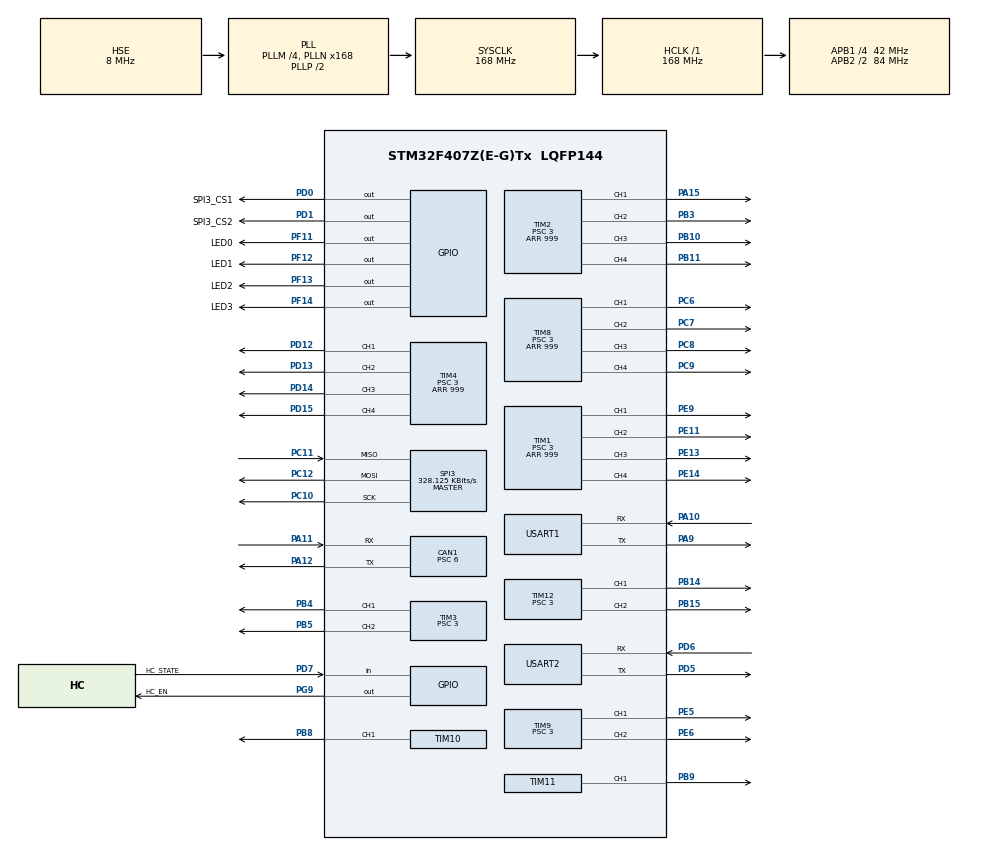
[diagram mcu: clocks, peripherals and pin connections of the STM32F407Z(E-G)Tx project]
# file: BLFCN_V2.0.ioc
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CAN1.BS1=CAN_BS1_5TQ
CAN1.CalculateBaudRate=1000000
CAN1.CalculateTimeBit=1000
CAN1.CalculateTimeQuantum=142.85714285714286
CAN1.Prescaler=6
Dma.Request0=USART1_RX
Dma.Request1=USART1_TX
Dma.Request2=USART2_RX
Dma.Request3=USART2_TX
Dma.USART1_RX.0.Direction=DMA_PERIPH_TO_MEMORY
Dma.USART1_RX.0.FIFOMode=DMA_FIFOMODE_DISABLE
Dma.USART1_RX.0.Instance=DMA2_Stream2
Dma.USART1_RX.0.MemDataAlignment=DMA_MDATAALIGN_BYTE
Dma.USART1_RX.0.MemInc=DMA_MINC_ENABLE
Dma.USART1_RX.0.Mode=DMA_NORMAL
Dma.USART1_RX.0.PeriphDataAlignment=DMA_PDATAALIGN_BYTE
Dma.USART1_RX.0.PeriphInc=DMA_PINC_DISABLE
Dma.USART1_RX.0.Priority=DMA_PRIORITY_LOW
Dma.USART1_TX.1.Direction=DMA_MEMORY_TO_PERIPH
Dma.USART1_TX.1.FIFOMode=DMA_FIFOMODE_DISABLE
Dma.USART1_TX.1.Instance=DMA2_Stream7
Dma.USART1_TX.1.MemDataAlignment=DMA_MDATAALIGN_BYTE
Dma.USART1_TX.1.MemInc=DMA_MINC_ENABLE
Dma.USART1_TX.1.Mode=DMA_NORMAL
Dma.USART1_TX.1.PeriphDataAlignment=DMA_PDATAALIGN_BYTE
Dma.USART1_TX.1.PeriphInc=DMA_PINC_DISABLE
Dma.USART1_TX.1.Priority=DMA_PRIORITY_LOW
Dma.USART2_RX.2.Direction=DMA_PERIPH_TO_MEMORY
Dma.USART2_RX.2.FIFOMode=DMA_FIFOMODE_DISABLE
Dma.USART2_RX.2.Instance=DMA1_Stream5
Dma.USART2_RX.2.MemDataAlignment=DMA_MDATAALIGN_BYTE
Dma.USART2_RX.2.MemInc=DMA_MINC_ENABLE
Dma.USART2_RX.2.Mode=DMA_CIRCULAR
Dma.USART2_RX.2.PeriphDataAlignment=DMA_PDATAALIGN_BYTE
Dma.USART2_RX.2.PeriphInc=DMA_PINC_DISABLE
Dma.USART2_RX.2.Priority=DMA_PRIORITY_LOW
Dma.USART2_TX.3.Direction=DMA_MEMORY_TO_PERIPH
Dma.USART2_TX.3.FIFOMode=DMA_FIFOMODE_DISABLE
Dma.USART2_TX.3.Instance=DMA1_Stream6
Dma.USART2_TX.3.MemDataAlignment=DMA_MDATAALIGN_BYTE
Dma.USART2_TX.3.MemInc=DMA_MINC_ENABLE
Dma.USART2_TX.3.Mode=DMA_CIRCULAR
Dma.USART2_TX.3.PeriphDataAlignment=DMA_PDATAALIGN_BYTE
Dma.USART2_TX.3.PeriphInc=DMA_PINC_DISABLE
Dma.USART2_TX.3.Priority=DMA_PRIORITY_LOW
FREERTOS.Tasks01=defaultTask,24,128,StartDefaultTask,Default,NULL,Dynamic,NULL,NULL;PID,8,128,StartTask_pid,Default,NULL,Dynamic,NULL,NULL;read,8,128,StartTask_read,Default,NULL,Dynamic,NULL,NULL;send,8,128,StartTask_send,Default,NULL,Dynamic,NULL,NULL
Mcu.Family=STM32F4
Mcu.Name=STM32F407Z(E-G)Tx
Mcu.Package=LQFP144
NVIC.CAN1_RX0_IRQn=true\:5\:0\:false\:false\:true\:true\:true\:true\:true
NVIC.CAN1_RX1_IRQn=true\:5\:0\:false\:false\:true\:true\:true\:true\:true
NVIC.CAN1_TX_IRQn=true\:5\:0\:false\:false\:true\:true\:true\:true\:true
NVIC.DMA1_Stream5_IRQn=true\:5\:0\:false\:false\:true\:true\:false\:true\:true
NVIC.DMA1_Stream6_IRQn=true\:5\:0\:false\:false\:true\:true\:false\:true\:true
NVIC.DMA2_Stream2_IRQn=true\:5\:0\:false\:false\:true\:true\:false\:true\:true
NVIC.DMA2_Stream7_IRQn=true\:5\:0\:false\:false\:true\:true\:false\:true\:true
NVIC.PriorityGroup=NVIC_PRIORITYGROUP_4
NVIC.TIM7_IRQn=true\:15\:0\:false\:false\:true\:false\:false\:true\:true
NVIC.TimeBase=TIM7_IRQn
NVIC.TimeBaseIP=TIM7
NVIC.USART1_IRQn=true\:5\:0\:true\:false\:true\:true\:true\:true\:true
NVIC.USART2_IRQn=true\:5\:0\:true\:false\:true\:true\:true\:true\:true
PA10.Mode=Asynchronous
PA10.Signal=USART1_RX
PA11.Mode=CAN_Activate
PA11.Signal=CAN1_RX
PA12.Mode=CAN_Activate
PA12.Signal=CAN1_TX
PA13.Mode=Serial_Wire
PA13.Signal=SYS_JTMS-SWDIO
PA14.Mode=Serial_Wire
PA14.Signal=SYS_JTCK-SWCLK
PA15.Signal=S_TIM2_CH1_ETR
PA9.Mode=Asynchronous
PA9.Signal=USART1_TX
PB10.Signal=S_TIM2_CH3
PB11.Signal=S_TIM2_CH4
PB14.Signal=S_TIM12_CH1
PB15.Signal=S_TIM12_CH2
PB3.Signal=S_TIM2_CH2
PB4.Signal=S_TIM3_CH1
PB5.Signal=S_TIM3_CH2
PB8.Signal=S_TIM10_CH1
PB9.Signal=S_TIM11_CH1
PC10.Mode=Full_Duplex_Master
PC10.Signal=SPI3_SCK
PC11.Mode=Full_Duplex_Master
PC11.Signal=SPI3_MISO
PC12.Mode=Full_Duplex_Master
PC12.Signal=SPI3_MOSI
PC6.Signal=S_TIM8_CH1
PC7.Signal=S_TIM8_CH2
PC8.Signal=S_TIM8_CH3
PC9.Signal=S_TIM8_CH4
PD0.GPIO_Label=SPI3_CS1
PD0.Signal=GPIO_Output
PD1.GPIO_Label=SPI3_CS2
PD1.Signal=GPIO_Output
PD12.Signal=S_TIM4_CH1
PD13.Signal=S_TIM4_CH2
PD14.Signal=S_TIM4_CH3
PD15.Signal=S_TIM4_CH4
PD5.Mode=Asynchronous
PD5.Signal=USART2_TX
PD6.Mode=Asynchronous
PD6.Signal=USART2_RX
PD7.GPIO_Label=HC_STATE
PD7.Signal=GPIO_Input
PE11.Signal=S_TIM1_CH2
PE13.Signal=S_TIM1_CH3
PE14.Signal=S_TIM1_CH4
PE5.Signal=S_TIM9_CH1
PE6.Signal=S_TIM9_CH2
PE9.Signal=S_TIM1_CH1
PF11.GPIO_Label=LED0
PF11.Signal=GPIO_Output
PF12.GPIO_Label=LED1
PF12.Signal=GPIO_Output
PF13.GPIO_Label=LED2
PF13.Signal=GPIO_Output
PF14.GPIO_Label=LED3
PF14.Signal=GPIO_Output
PG9.GPIO_Label=HC_EN
PG9.Signal=GPIO_Output
PH0-OSC_IN.Mode=HSE-External-Oscillator
PH0-OSC_IN.Signal=RCC_OSC_IN
PH1-OSC_OUT.Mode=HSE-External-Oscillator
PH1-OSC_OUT.Signal=RCC_OSC_OUT
ProjectManager.HeapSize=0x400
ProjectManager.StackSize=0x1000
ProjectManager.TargetToolchain=MDK-ARM V5
RCC.48MHZClocksFreq_Value=84000000
RCC.AHBFreq_Value=168000000
RCC.APB1CLKDivider=RCC_HCLK_DIV4
RCC.APB1Freq_Value=42000000
RCC.APB1TimFreq_Value=84000000
RCC.APB2CLKDivider=RCC_HCLK_DIV2
RCC.APB2Freq_Value=84000000
RCC.APB2TimFreq_Value=168000000
RCC.CortexFreq_Value=168000000
RCC.HCLKFreq_Value=168000000
RCC.HSE_VALUE=8000000
RCC.HSI_VALUE=16000000
RCC.LSE_VALUE=32768
RCC.PLLM=4
RCC.PLLN=168
RCC.PLLSourceVirtual=RCC_PLLSOURCE_HSE
RCC.SYSCLKFreq_VALUE=168000000
RCC.SYSCLKSource=RCC_SYSCLKSOURCE_PLLCLK
RCC.VCOOutputFreq_Value=336000000
SH.S_TIM10_CH1.0=TIM10_CH1,PWM Generation1 CH1
SH.S_TIM11_CH1.0=TIM11_CH1,PWM Generation1 CH1
SH.S_TIM12_CH1.0=TIM12_CH1,PWM Generation1 CH1
SH.S_TIM12_CH2.0=TIM12_CH2,PWM Generation2 CH2
SH.S_TIM1_CH1.0=TIM1_CH1,PWM Generation1 CH1
SH.S_TIM1_CH2.0=TIM1_CH2,PWM Generation2 CH2
SH.S_TIM1_CH3.0=TIM1_CH3,PWM Generation3 CH3
SH.S_TIM1_CH4.0=TIM1_CH4,PWM Generation4 CH4
SH.S_TIM2_CH1_ETR.0=TIM2_CH1,PWM Generation1 CH1
SH.S_TIM2_CH2.0=TIM2_CH2,PWM Generation2 CH2
SH.S_TIM2_CH3.0=TIM2_CH3,PWM Generation3 CH3
SH.S_TIM2_CH4.0=TIM2_CH4,PWM Generation4 CH4
SH.S_TIM3_CH1.0=TIM3_CH1,PWM Generation1 CH1
SH.S_TIM3_CH2.0=TIM3_CH2,PWM Generation2 CH2
SH.S_TIM4_CH1.0=TIM4_CH1,PWM Generation1 CH1
SH.S_TIM4_CH2.0=TIM4_CH2,PWM Generation2 CH2
SH.S_TIM4_CH3.0=TIM4_CH3,PWM Generation3 CH3
SH.S_TIM4_CH4.0=TIM4_CH4,PWM Generation4 CH4
SH.S_TIM8_CH1.0=TIM8_CH1,PWM Generation1 CH1
SH.S_TIM8_CH2.0=TIM8_CH2,PWM Generation2 CH2
SH.S_TIM8_CH3.0=TIM8_CH3,PWM Generation3 CH3
SH.S_TIM8_CH4.0=TIM8_CH4,PWM Generation4 CH4
SH.S_TIM9_CH1.0=TIM9_CH1,PWM Generation1 CH1
SH.S_TIM9_CH2.0=TIM9_CH2,PWM Generation2 CH2
SPI3.BaudRatePrescaler=SPI_BAUDRATEPRESCALER_128
SPI3.CLKPhase=SPI_PHASE_2EDGE
SPI3.CalculateBaudRate=328.125 KBits/s
SPI3.DataSize=SPI_DATASIZE_16BIT
SPI3.Direction=SPI_DIRECTION_2LINES
SPI3.Mode=SPI_MODE_MASTER
SPI3.VirtualType=VM_MASTER
TIM1.Channel-PWM\ Generation1\ CH1=TIM_CHANNEL_1
TIM1.Channel-PWM\ Generation2\ CH2=TIM_CHANNEL_2
TIM1.Channel-PWM\ Generation3\ CH3=TIM_CHANNEL_3
TIM1.Channel-PWM\ Generation4\ CH4=TIM_CHANNEL_4
TIM1.Period=999
TIM1.Prescaler=3
TIM10.Channel=TIM_CHANNEL_1
TIM10.Period=999
TIM10.Prescaler=3
TIM11.Channel=TIM_CHANNEL_1
TIM11.Period=999
TIM11.Prescaler=3
TIM12.Channel-PWM\ Generation1\ CH1=TIM_CHANNEL_1
TIM12.Channel-PWM\ Generation2\ CH2=TIM_CHANNEL_2
TIM12.Period=999
TIM12.Prescaler=3
TIM2.Channel-PWM\ Generation1\ CH1=TIM_CHANNEL_1
TIM2.Channel-PWM\ Generation2\ CH2=TIM_CHANNEL_2
TIM2.Channel-PWM\ Generation3\ CH3=TIM_CHANNEL_3
TIM2.Channel-PWM\ Generation4\ CH4=TIM_CHANNEL_4
TIM2.Period=999
TIM2.Prescaler=3
TIM3.Channel-PWM\ Generation1\ CH1=TIM_CHANNEL_1
TIM3.Channel-PWM\ Generation2\ CH2=TIM_CHANNEL_2
TIM3.Period=999
TIM3.Prescaler=3
TIM4.Channel-PWM\ Generation1\ CH1=TIM_CHANNEL_1
TIM4.Channel-PWM\ Generation2\ CH2=TIM_CHANNEL_2
TIM4.Channel-PWM\ Generation3\ CH3=TIM_CHANNEL_3
TIM4.Channel-PWM\ Generation4\ CH4=TIM_CHANNEL_4
TIM4.Period=999
TIM4.Prescaler=3
TIM8.Channel-PWM\ Generation1\ CH1=TIM_CHANNEL_1
TIM8.Channel-PWM\ Generation2\ CH2=TIM_CHANNEL_2
TIM8.Channel-PWM\ Generation3\ CH3=TIM_CHANNEL_3
TIM8.Channel-PWM\ Generation4\ CH4=TIM_CHANNEL_4
TIM8.Period=999
TIM8.Prescaler=3
TIM9.Channel-PWM\ Generation1\ CH1=TIM_CHANNEL_1
TIM9.Channel-PWM\ Generation2\ CH2=TIM_CHANNEL_2
TIM9.Period=999
TIM9.Prescaler=3
USART1.VirtualMode=VM_ASYNC
USART2.VirtualMode=VM_ASYNC
VP_FREERTOS_VS_CMSIS_V2.Mode=CMSIS_V2
VP_SYS_VS_tim7.Mode=TIM7
VP_TIM10_VS_ClockSourceINT.Mode=Enable_Timer
VP_TIM11_VS_ClockSourceINT.Mode=Enable_Timer
VP_TIM12_VS_ClockSourceINT.Mode=Internal
VP_TIM1_VS_ClockSourceINT.Mode=Internal
VP_TIM2_VS_ClockSourceINT.Mode=Internal
VP_TIM3_VS_ClockSourceINT.Mode=Internal
VP_TIM4_VS_ClockSourceINT.Mode=Internal
VP_TIM8_VS_ClockSourceINT.Mode=Internal
VP_TIM9_VS_ClockSourceINT.Mode=Internal
board=custom

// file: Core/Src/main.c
/* USER CODE BEGIN Header */
/**
  ******************************************************************************
  * @file           : main.c
  * @brief          : Main program body
  ******************************************************************************
  * @attention
  *
  * <h2><center>&copy; Copyright (c) 2023 STMicroelectronics.
  * All rights reserved.</center></h2>
  *
  * This software component is licensed by ST under BSD 3-Clause license,
  * the "License"; You may not use this file except in compliance with the
  * License. You may obtain a copy of the License at:
  *                        opensource.org/licenses/BSD-3-Clause
  *
  ******************************************************************************
  */
/* USER CODE END Header */
#include "main.h"
#include "cmsis_os.h"
#include "can.h"
#include "dma.h"
#include "spi.h"
#include "tim.h"
#include "usart.h"
#include "gpio.h"

/* USER CODE BEGIN Includes */
#include "protocol.h"
#include "spi.h"
#include "hjcMotionControlLib.h"
/* USER CODE END Includes */

/* USER CODE BEGIN PV */
uint16_t pressure[48];
/* USER CODE END PV */

void SystemClock_Config(void);
void MX_FREERTOS_Init(void);
/* USER CODE BEGIN PFP */
#include "stm32f4xx_it.h"
#include "stdio.h"
/* USER CODE END PFP */

/* USER CODE BEGIN 0 */
#define UART_BUF_LENTH 8
#define PI 3.141592
uint8_t UART_RCV_DATA;
static uint8_t rcvstate = 0x00;
static uint32_t tempdata = 0;

int fputc(int ch, FILE *f)
{
    uint8_t temp[1]={ch};
    HAL_UART_Transmit(&huart1, temp, 1, HAL_MAX_DELAY);
    return ch;
}
extern ctrl_channel ctrl_group[24];
/* USER CODE END 0 */

int main(void)
{

  /* MCU Configuration--------------------------------------------------------*/

  /* Reset of all peripherals, Initializes the Flash interface and the Systick. */
  HAL_Init();

  /* Configure the system clock */
  SystemClock_Config();

  /* Initialize all configured peripherals */
  MX_GPIO_Init();
  MX_DMA_Init();
  MX_CAN1_Init();
  MX_TIM1_Init();
  MX_TIM2_Init();
  MX_TIM3_Init();
  MX_TIM4_Init();
  MX_TIM8_Init();
  MX_TIM9_Init();
  MX_TIM10_Init();
  MX_TIM11_Init();
  MX_TIM12_Init();
  MX_USART1_UART_Init();
  MX_USART2_UART_Init();
  MX_SPI3_Init();
  /* USER CODE BEGIN 2 */
	//PWM输出启动
	HAL_TIM_Base_Start(&htim1);
	HAL_TIM_PWM_Start(&htim1, TIM_CHANNEL_1);	//CN7
	HAL_TIM_PWM_Start(&htim1, TIM_CHANNEL_2);	//CN8
	HAL_TIM_PWM_Start(&htim1, TIM_CHANNEL_3);	//CN6
	HAL_TIM_PWM_Start(&htim1, TIM_CHANNEL_4);	//CN5
	HAL_TIM_Base_Start(&htim2);
	HAL_TIM_PWM_Start(&htim2, TIM_CHANNEL_1);	//CN16
	HAL_TIM_PWM_Start(&htim2, TIM_CHANNEL_2);	//CN15
	HAL_TIM_PWM_Start(&htim2, TIM_CHANNEL_3);	//CN9
	HAL_TIM_PWM_Start(&htim2, TIM_CHANNEL_4);	//CN10
	HAL_TIM_Base_Start(&htim3);
	HAL_TIM_PWM_Start(&htim3, TIM_CHANNEL_1);	//CN14
	HAL_TIM_PWM_Start(&htim3, TIM_CHANNEL_2);	//CN13
	HAL_TIM_Base_Start(&htim4);
	HAL_TIM_PWM_Start(&htim4, TIM_CHANNEL_1);	//CN24
	HAL_TIM_PWM_Start(&htim4, TIM_CHANNEL_2);	//CN23
	HAL_TIM_PWM_Start(&htim4, TIM_CHANNEL_3);	//CN22
	HAL_TIM_PWM_Start(&htim4, TIM_CHANNEL_4);	//CN21
	HAL_TIM_Base_Start(&htim8);
	HAL_TIM_PWM_Start(&htim8, TIM_CHANNEL_1);	//CN20
	HAL_TIM_PWM_Start(&htim8, TIM_CHANNEL_2);	//CN19
	HAL_TIM_PWM_Start(&htim8, TIM_CHANNEL_3);	//CN18
	HAL_TIM_PWM_Start(&htim8, TIM_CHANNEL_4);	//CN17
	HAL_TIM_Base_Start(&htim9);
	HAL_TIM_PWM_Start(&htim9, TIM_CHANNEL_1);	//CN3
	HAL_TIM_PWM_Start(&htim9, TIM_CHANNEL_2);	//CN4
	HAL_TIM_Base_Start(&htim10);
	HAL_TIM_PWM_Start(&htim10, TIM_CHANNEL_1);	//CN1
	HAL_TIM_Base_Start(&htim11);
	HAL_TIM_PWM_Start(&htim11, TIM_CHANNEL_1);	//CN2
	HAL_TIM_Base_Start(&htim12);
	HAL_TIM_PWM_Start(&htim12, TIM_CHANNEL_1);	//CN11
	HAL_TIM_PWM_Start(&htim12, TIM_CHANNEL_2);	//CN12
	HAL_UART_Receive_IT(&huart1, &UART_RCV_DATA, 1); //中断串口接收函数
	HAL_UART_Receive_IT(&huart2, &UART_RCV_DATA, 1); //中断串口接收函数
	HAL_GPIO_WritePin(LED0_GPIO_Port,LED0_Pin,GPIO_PIN_SET);
  HAL_GPIO_WritePin(LED1_GPIO_Port,LED1_Pin,GPIO_PIN_SET);
	printf("hardware INIT DONE!\r\n");
	PID_INIT(1);
	Set_all_pressure2(0);
	Angle_Reset();
	printf("pressure INIT DONE!\r\n");
//结束
  /* USER CODE END 2 */

  /* Init scheduler */
  osKernelInitialize();

  /* Call init function for freertos objects (in freertos.c) */
  MX_FREERTOS_Init();

  /* Start scheduler */
  osKernelStart();

  /* We should never get here as control is now taken by the scheduler */
  /* Infinite loop */
  while (1)
  {

    /* USER CODE BEGIN 3 */
    //1
  }
  /* USER CODE END 3 */
}

void SystemClock_Config(void)
{
  RCC_OscInitTypeDef RCC_OscInitStruct = {0};
  RCC_ClkInitTypeDef RCC_ClkInitStruct = {0};

  /** Configure the main internal regulator output voltage
  */
  __HAL_RCC_PWR_CLK_ENABLE();
  __HAL_PWR_VOLTAGESCALING_CONFIG(PWR_REGULATOR_VOLTAGE_SCALE1);

  /** Initializes the RCC Oscillators according to the specified parameters
  * in the RCC_OscInitTypeDef structure.
  */
  RCC_OscInitStruct.OscillatorType = RCC_OSCILLATORTYPE_HSE;
  RCC_OscInitStruct.HSEState = RCC_HSE_ON;
  RCC_OscInitStruct.PLL.PLLState = RCC_PLL_ON;
  RCC_OscInitStruct.PLL.PLLSource = RCC_PLLSOURCE_HSE;
  RCC_OscInitStruct.PLL.PLLM = 4;
  RCC_OscInitStruct.PLL.PLLN = 168;
  RCC_OscInitStruct.PLL.PLLP = RCC_PLLP_DIV2;
  RCC_OscInitStruct.PLL.PLLQ = 4;
  if (HAL_RCC_OscConfig(&RCC_OscInitStruct) != HAL_OK)
  {
    Error_Handler();
  }

  /** Initializes the CPU, AHB and APB buses clocks
  */
  RCC_ClkInitStruct.ClockType = RCC_CLOCKTYPE_HCLK|RCC_CLOCKTYPE_SYSCLK
                              |RCC_CLOCKTYPE_PCLK1|RCC_CLOCKTYPE_PCLK2;
  RCC_ClkInitStruct.SYSCLKSource = RCC_SYSCLKSOURCE_PLLCLK;
  RCC_ClkInitStruct.AHBCLKDivider = RCC_SYSCLK_DIV1;
  RCC_ClkInitStruct.APB1CLKDivider = RCC_HCLK_DIV4;
  RCC_ClkInitStruct.APB2CLKDivider = RCC_HCLK_DIV2;

  if (HAL_RCC_ClockConfig(&RCC_ClkInitStruct, FLASH_LATENCY_5) != HAL_OK)
  {
    Error_Handler();
  }
}

/* USER CODE BEGIN 4 */
//

/* USER CODE END 4 */

void HAL_TIM_PeriodElapsedCallback(TIM_HandleTypeDef *htim)
{
  if (htim->Instance == TIM7) {
    HAL_IncTick();
  }
}

void Error_Handler(void)
{
  __disable_irq();
  while (1)
  {
  }
}

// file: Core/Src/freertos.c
/* USER CODE BEGIN Header */
/**
  ******************************************************************************
  * File Name          : freertos.c
  * Description        : Code for freertos applications
  ******************************************************************************
  * @attention
  *
  * <h2><center>&copy; Copyright (c) 2023 STMicroelectronics.
  * All rights reserved.</center></h2>
  *
  * This software component is licensed by ST under Ultimate Liberty license
  * SLA0044, the "License"; You may not use this file except in compliance with
  * the License. You may obtain a copy of the License at:
  *                             www.st.com/SLA0044
  *
  ******************************************************************************
  */
/* USER CODE END Header */

#include "FreeRTOS.h"
#include "task.h"
#include "main.h"
#include "cmsis_os.h"

/* USER CODE BEGIN Includes */
#include "hjcMotionControlLib.h"
#include "myPID.h"
#include "protocol.h"
extern uint8_t pidstart;
/* USER CODE END Includes */

/* Definitions for defaultTask */
osThreadId_t defaultTaskHandle;
const osThreadAttr_t defaultTask_attributes = {
  .name = "defaultTask",
  .stack_size = 128 * 4,
  .priority = (osPriority_t) osPriorityNormal,
};
/* Definitions for PID */
osThreadId_t PIDHandle;
const osThreadAttr_t PID_attributes = {
  .name = "PID",
  .stack_size = 128 * 4,
  .priority = (osPriority_t) osPriorityLow,
};
/* Definitions for read */
osThreadId_t readHandle;
const osThreadAttr_t read_attributes = {
  .name = "read",
  .stack_size = 128 * 4,
  .priority = (osPriority_t) osPriorityLow,
};
/* Definitions for send */
osThreadId_t sendHandle;
const osThreadAttr_t send_attributes = {
  .name = "send",
  .stack_size = 128 * 4,
  .priority = (osPriority_t) osPriorityLow,
};

void StartDefaultTask(void *argument);
void StartTask_pid(void *argument);
void StartTask_read(void *argument);
void StartTask_send(void *argument);

void MX_FREERTOS_Init(void); /* (MISRA C 2004 rule 8.1) */

void MX_FREERTOS_Init(void) {

  /* Create the thread(s) */
  /* creation of defaultTask */
  defaultTaskHandle = osThreadNew(StartDefaultTask, NULL, &defaultTask_attributes);

  /* creation of PID */
  PIDHandle = osThreadNew(StartTask_pid, NULL, &PID_attributes);

  /* creation of read */
  readHandle = osThreadNew(StartTask_read, NULL, &read_attributes);

  /* creation of send */
  sendHandle = osThreadNew(StartTask_send, NULL, &send_attributes);

}

void StartDefaultTask(void *argument)
{
  /* USER CODE BEGIN StartDefaultTask */
  /* Infinite loop */
  for(;;)
  {
	//printf("001");
	//receiving_process();
    HAL_GPIO_TogglePin(LED0_GPIO_Port, LED0_Pin);
    osDelay(500);

  }
  /* USER CODE END StartDefaultTask */
}

void StartTask_pid(void *argument)
{
  /* USER CODE BEGIN StartTask_pid */
  /* Infinite loop */
  for(;;)
  {
//  //等待�?启信�?
//	pidstart = 1;
//	while(1)
//	{
//		if(pidstart == 1){break;}
//		printf("waitting");
//		osDelay(500);
//	}
//  //�?�?
//	printf("Task2 processing");
//  //回零 初始�?
//	Set_all_pressure2(0);
//	PID_INIT(2);
//  osDelay(1000);
//  //�?始执�?
//  joint_2_MOV_CLOSE_test();
  osDelay(3000);
  }
  /* USER CODE END StartTask_pid */
}

void StartTask_read(void *argument)
{
  /* USER CODE BEGIN StartTask_read */
  /* Infinite loop */
  for(;;)
  {
    Read_B();
    osDelay(10);
	//printf(" Task3 readBing ");
  }
  /* USER CODE END StartTask_read */
}

void StartTask_send(void *argument)
{
  /* USER CODE BEGIN StartTask_send */
  /* Infinite loop */
  for(;;)
  {
     osDelay(500);
	 //printf("Task4 sending");
  }
  /* USER CODE END StartTask_send */
}
